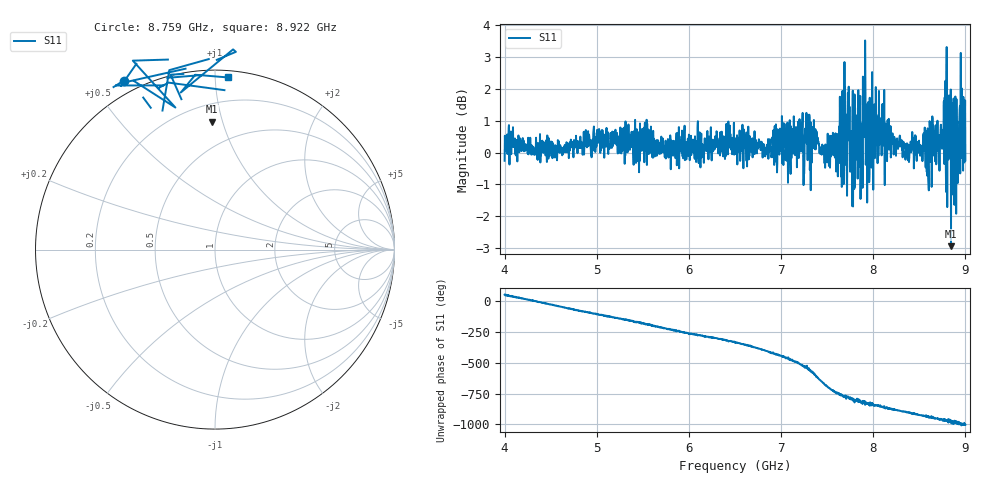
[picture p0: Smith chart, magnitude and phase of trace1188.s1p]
! Created with skrf 1.8.0 (http://scikit-rf.org).
# Hz S RI R 50.0
!freq ReS11 ImS11
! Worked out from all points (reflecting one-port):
!   1601 points, 4 GHz to 9 GHz, reference 50 ohm
!   lowest |S11| = -2.9 dB at 8.844 GHz (marker M1), VSWR 5.98, Z = 15.9 + j46.1 ohm
!   phase of S11 starts at 52 deg and turns -1054 deg over the sweep
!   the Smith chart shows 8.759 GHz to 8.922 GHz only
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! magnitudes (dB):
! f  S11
! 4 GHz  -0.3
! 4.066 GHz  0.0
! 4.625 GHz  -0.1
! 5.25 GHz  0.0
! 5.875 GHz  0.1
! 6.5 GHz  0.4
! 7.125 GHz  0.4
! 7.359 GHz  0.5
! 7.512 GHz  -0.3
! 7.566 GHz  0.6
! 7.659 GHz  -1.1
! 7.712 GHz  -0.5
! 7.75 GHz  -0.6
! 7.775 GHz  1.1
! 7.925 GHz  1.5
! 7.944 GHz  1.2
! 8.097 GHz  0.8
! 8.375 GHz  0.2
! 8.547 GHz  0.6
! 8.612 GHz  1.0
! 8.631 GHz  0.5
! 8.697 GHz  1.0
! 8.775 GHz  1.7
! 8.816 GHz  -0.2
! 8.844 GHz  -2.9
! 8.919 GHz  -0.2
! 8.959 GHz  2.0
! 9 GHz  -0.2
